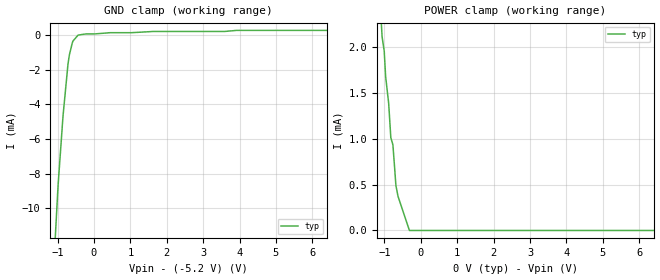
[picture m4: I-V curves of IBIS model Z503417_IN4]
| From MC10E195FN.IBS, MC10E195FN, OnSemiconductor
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| (C) COPYRIGHT 1993-2000
| MENTOR GRAPHICS CORPORATION
| ICX STANDARD LIBRARY, ICX PROJECT MODELING,
| ICX CUSTOM MODELING, ICX VENDOR MODEL
| ALL RIGHTS RESERVED.
| THE FOLLOWING ARE TRADEMARKS OR SERVICE MARKS OF
| MENTOR GRAPHICS CORPORATION:ICX (R), ICX STANDARD
| LIBRARY(R), ICX PROJECT MODELING(R), ICX CUSTOM
| MODELING(R), qualityIBIS(TM), MODELVIEWER(TM),
| AND MODELEDITOR(TM)
| ALL COPIES OF SOFTWARE, INCLUDING BUT NOT LIMITED TO
| ANY MODIFICATIONS, ENHANCEMENTS OR DERIVATIVE WORKS,
| MUST CONTAIN ALL MENTOR GRAPHICS CORPORATION'S
| NOTICES AND LEGENDS, INCLUDING THOSE EMBEDDED IN
| SOFTWARE AND THOSE AFFIXED TO SOFTWARE MEDIUM
| AND CONTAINER, AS RECEIVED FROM MENTOR GRAPHICS
| CORPORATION.
| Model Application Version 1.89 2/18/99.
[Model] Z503417_IN4
Model_type Input_ECL
Vinl = -1.480V
Vinh = -1.130V
C_comp 4.000pF NA NA
| variable typ   min   max
[Voltage Range] -5.200V NA NA
[GND Clamp Reference] -5.200V NA NA
[POWER Clamp Reference] 0.000V NA NA
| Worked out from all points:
|   GND clamp passes 1 mA (typ) near -0.66 V on its own axis
|   POWER clamp passes 1 mA (typ) near -0.82 V on its own axis
[GND Clamp]
-5.2V     -291.9mA   NA         NA
-1.118V   -13.85mA   NA         NA
-986mV    -8.677mA   NA         NA
-850mV    -4.668mA   NA         NA
-713mV    -1.662mA   NA         NA
-674mV    -1.128mA   NA         NA
-596mV    -458.2uA   NA         NA
-576mV    -339.7uA   NA         NA
-435mV    75.88nA    NA         NA
442mV     139.2uA    NA         NA
3.915V    271.3uA    NA         NA
10.4V     271.3uA    NA         NA
[POWER Clamp]
-5.2V     42.31mA    NA         NA
-1.184V   2.932mA    NA         NA
-1.064V   2.108mA    NA         NA
-1.006V   1.954mA    NA         NA
-966.8mV  1.674mA    NA         NA
-883.8mV  1.386mA    NA         NA
-825.2mV  1.013mA    NA         NA
-766.8mV  932.7uA    NA         NA
-684.4mV  489uA      NA         NA
-626mV    369.9uA    NA         NA
-313mV    0A         NA         NA
10.4V     0A         NA         NA
